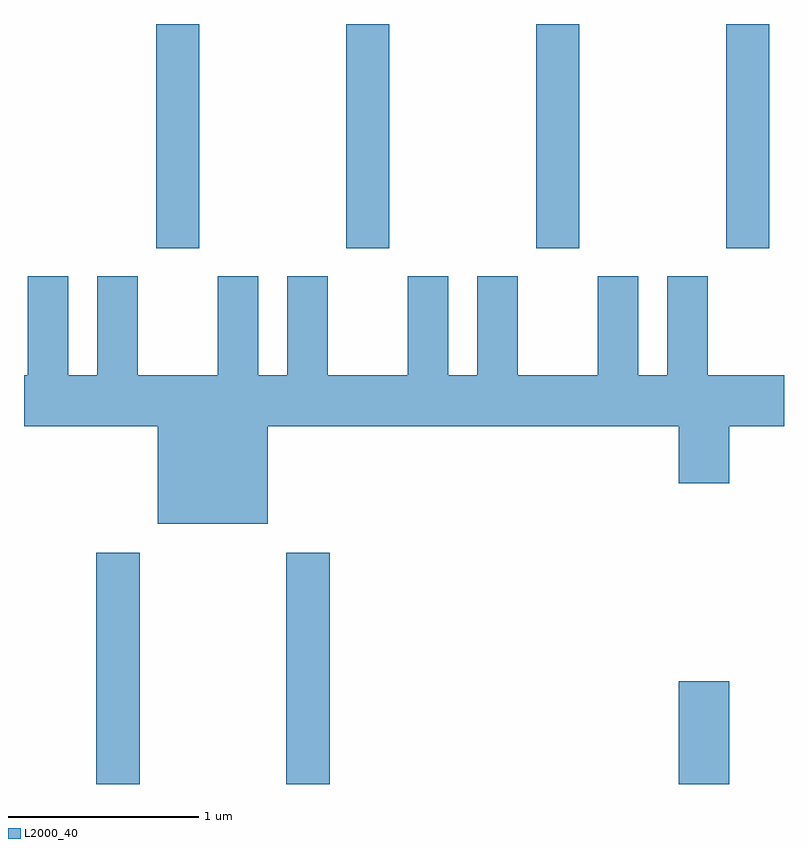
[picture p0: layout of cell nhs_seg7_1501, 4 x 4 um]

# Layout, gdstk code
import gdstk
lib = gdstk.Library(unit=1e-6, precision=1e-09)
def R(c, l, rs):  # rectangles x0, y0, x1, y1
    for r in rs: c.add(gdstk.rectangle(r[:2], r[2:], *l))
def A(c, l, x, y, w, h, nx, ny, dx, dy):  # array of equal rectangles
    R(c, l, [(x+i*dx, y+j*dy, x+i*dx+w, y+j*dy+h) for i in range(nx) for j in range(ny)])
def P(c, l, *ps):  # polygons
    for p in ps: c.add(gdstk.Polygon(p, *l))
L2000_40 = (2000, 40)

nhs_seg7_1501 = lib.new_cell('nhs_seg7_1501')
A(nhs_seg7_1501, L2000_40, 232.306, 1673.071, 0.228, 1.181, 4, 1, 1, 0)
R(nhs_seg7_1501, L2000_40, [(231.991,1670.252,232.219,1671.469), (232.991,1670.252,233.219,1671.469), (235.056,1670.252,235.324,1670.794)])
P(nhs_seg7_1501, L2000_40, [(235.056,1671.836),(235.324,1671.836),(235.324,1672.136),(235.611,1672.136),(235.611,1672.404),(235.209,1672.404),(235.209,1672.924),(234.996,1672.924),(234.996,1672.404),(234.844,1672.404),(234.844,1672.924),(234.631,1672.924),(234.631,1672.404),(234.209,1672.404),(234.209,1672.924),(233.996,1672.924),(233.996,1672.404),(233.844,1672.404),(233.844,1672.924),(233.631,1672.924),(233.631,1672.404),(233.209,1672.404),(233.209,1672.924),(232.996,1672.924),(232.996,1672.404),(232.844,1672.404),(232.844,1672.924),(232.631,1672.924),(232.631,1672.404),(232.209,1672.404),(232.209,1672.924),(231.996,1672.924),(231.996,1672.404),(231.844,1672.404),(231.844,1672.924),(231.631,1672.924),(231.631,1672.404),(231.611,1672.404),(231.611,1672.136),(232.316,1672.136),(232.316,1671.621),(232.894,1671.621),(232.894,1672.136),(235.056,1672.136)])

lib.write_gds('nhs_seg7_1501.gds')
